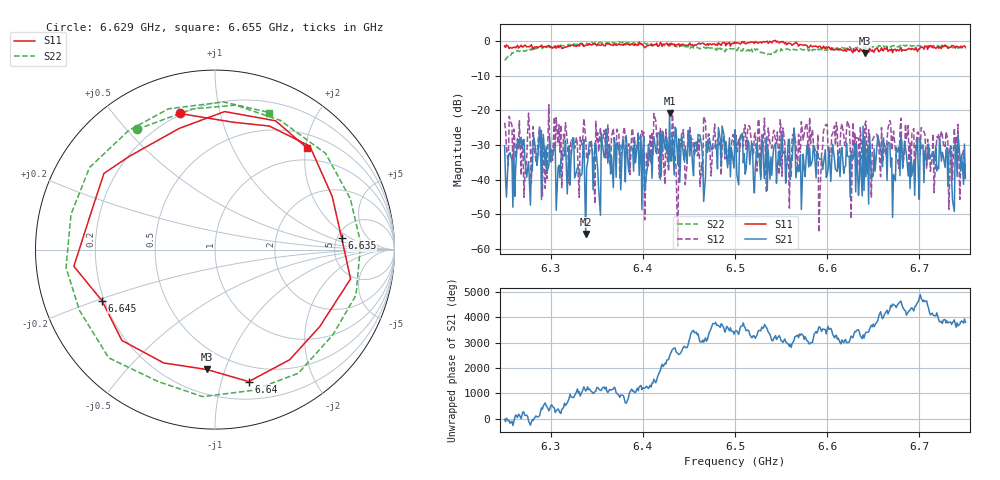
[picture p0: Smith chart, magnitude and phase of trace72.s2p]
# Hz S RI R 50
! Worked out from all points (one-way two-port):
!   401 points, 6.25 GHz to 6.75 GHz, reference 50 ohm
!   highest |S21| = -20.80 dB at 6.429 GHz (marker M1); lowest = -55.7 dB at 6.338 GHz (marker M2)
!   lowest |S11| = -3.5 dB at 6.641 GHz (marker M3), VSWR 5.05, Z = 17.9 - j43.4 ohm
!   |S11| at or under -10 dB: nowhere
!   |S22| runs from -5.4 to -0.1 dB; largest |S21 - S12| = 0.14
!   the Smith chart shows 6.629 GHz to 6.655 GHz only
!   S11 on the Smith chart (normalised r, x): 6.629 GHz: 0.19, +0.76; 6.635 GHz: 5.47, +1.43; 6.64 GHz: 0.35, -1.23; 6.645 GHz: 0.19, -0.21; 6.655 GHz: 0.75, +2.03
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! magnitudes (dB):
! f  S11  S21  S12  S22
! 6.25 GHz  -1.3  -30.3  -23.6  -5.4
! 6.294 GHz  -1.5  -35.5  -42.5  -1.9
! 6.306 GHz  -2.0  -48.9  -22.1  -1.6
! 6.334 GHz  -0.7  -38.4  -29.9  -0.6
! 6.338 GHz  -1.1  -55.7  -28.1  -0.5
! 6.418 GHz  -1.2  -26.6  -39.4  -1.4
! 6.429 GHz  -0.7  -20.8  -27.6  -1.4
! 6.5 GHz  -0.2  -25.6  -30.3  -2.6
! 6.551 GHz  -0.2  -26.7  -39.0  -2.5
! 6.559 GHz  -0.6  -28.3  -48.2  -2.4
! 6.584 GHz  -1.6  -34.5  -25.5  -2.7
! 6.59 GHz  -1.8  -33.7  -26.9  -2.5
! 6.598 GHz  -2.2  -31.4  -24.3  -2.5
! 6.629 GHz  -2.1  -32.5  -30.7  -2.0
! 6.635 GHz  -3.0  -39.8  -36.2  -1.9
! 6.64 GHz  -2.4  -43.2  -32.9  -1.6
! 6.641 GHz  -3.5  -27.5  -24.1  -1.8
! 6.645 GHz  -3.2  -47.1  -25.5  -1.5
! 6.655 GHz  -2.3  -27.3  -28.8  -1.7
! 6.668 GHz  -2.4  -29.4  -22.9  -1.4
! 6.74 GHz  -1.5  -31.1  -27.5  -2.0
! 6.75 GHz  -1.7  -39.7  -35.6  -2.2
